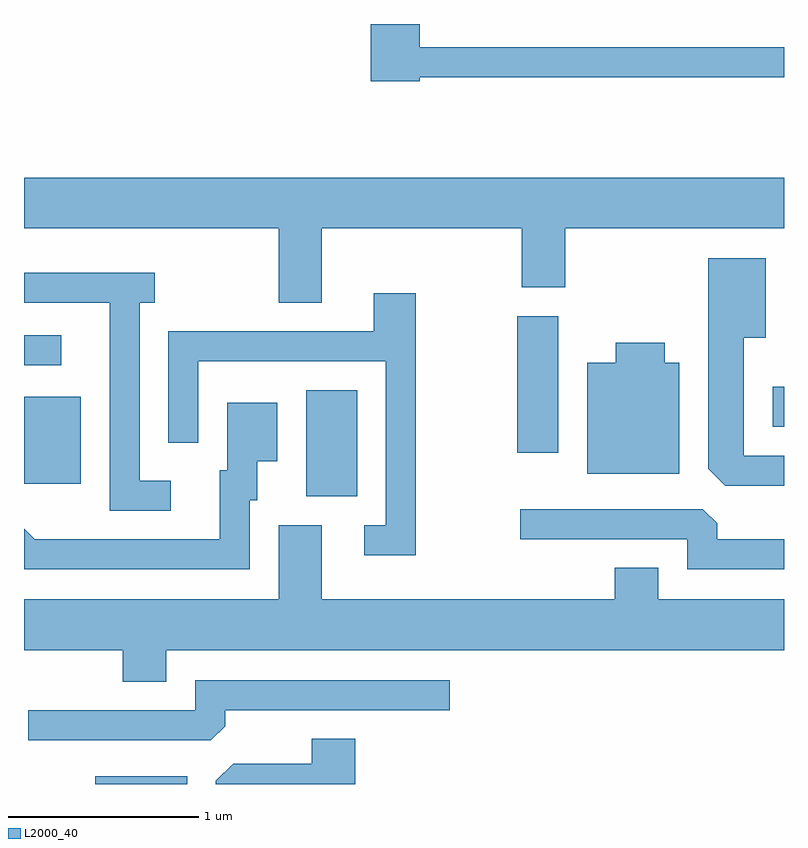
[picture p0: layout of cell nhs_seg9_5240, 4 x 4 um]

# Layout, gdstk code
import gdstk
lib = gdstk.Library(unit=1e-6, precision=1e-09)
def R(c, l, rs):  # rectangles x0, y0, x1, y1
    for r in rs: c.add(gdstk.rectangle(r[:2], r[2:], *l))
def P(c, l, *ps):  # polygons
    for p in ps: c.add(gdstk.Polygon(p, *l))
L2000_40 = (2000, 40)

nhs_seg9_5240 = lib.new_cell('nhs_seg9_5240')
R(nhs_seg9_5240, L2000_40, [(339.986,2004.432,340.469,2004.474), (341.096,2005.946,341.364,2006.504), (339.611,2006.011,339.909,2006.469), (342.206,2006.176,342.424,2006.894), (343.551,2006.311,343.611,2006.524), (339.611,2006.636,339.808,2006.794)])
P(nhs_seg9_5240, L2000_40, [(341.694,2008.151),(343.611,2008.151),(343.611,2008.309),(341.694,2008.309),(341.694,2008.432),(341.436,2008.432),(341.436,2008.131),(341.694,2008.131)],
  [(341.179,2007.356),(342.231,2007.356),(342.231,2007.046),(342.459,2007.046),(342.459,2007.356),(343.611,2007.356),(343.611,2007.624),(339.611,2007.624),(339.611,2007.356),(340.951,2007.356),(340.951,2006.966),(341.179,2006.966)],
  [(343.611,2006.159),(343.399,2006.159),(343.399,2006.781),(343.514,2006.781),(343.514,2007.199),(343.211,2007.199),(343.211,2006.092),(343.302,2006.001),(343.611,2006.001)],
  [(340.383,2006.029),(340.219,2006.029),(340.219,2006.966),(340.298,2006.966),(340.298,2007.124),(339.611,2007.124),(339.611,2006.966),(340.061,2006.966),(340.061,2005.871),(340.383,2005.871)],
  [(341.674,2007.014),(341.451,2007.014),(341.451,2006.814),(340.371,2006.814),(340.371,2006.228),(340.529,2006.228),(340.529,2006.656),(341.516,2006.656),(341.516,2005.794),(341.403,2005.794),(341.403,2005.636),(341.674,2005.636)],
  [(343.059,2006.649),(342.984,2006.649),(342.984,2006.754),(342.726,2006.754),(342.726,2006.649),(342.576,2006.649),(342.576,2006.066),(343.059,2006.066)],
  [(340.799,2005.926),(340.839,2005.926),(340.839,2006.131),(340.944,2006.131),(340.944,2006.439),(340.681,2006.439),(340.681,2006.084),(340.641,2006.084),(340.641,2005.719),(339.667,2005.719),(339.611,2005.775),(339.611,2005.561),(340.799,2005.561)],
  [(343.611,2005.719),(343.259,2005.719),(343.259,2005.804),(343.184,2005.879),(342.223,2005.879),(342.223,2005.721),(343.101,2005.721),(343.101,2005.561),(343.611,2005.561)],
  [(340.359,2005.136),(343.611,2005.136),(343.611,2005.404),(342.949,2005.404),(342.949,2005.569),(342.721,2005.569),(342.721,2005.404),(341.179,2005.404),(341.179,2005.794),(340.951,2005.794),(340.951,2005.404),(339.611,2005.404),(339.611,2005.136),(340.131,2005.136),(340.131,2004.971),(340.359,2004.971)],
  [(340.669,2004.737),(340.669,2004.821),(341.853,2004.821),(341.853,2004.979),(340.511,2004.979),(340.511,2004.819),(339.633,2004.819),(339.633,2004.661),(340.594,2004.661)],
  [(341.354,2004.669),(341.126,2004.669),(341.126,2004.539),(340.712,2004.539),(340.621,2004.449),(340.621,2004.432),(341.354,2004.432)])

lib.write_gds('nhs_seg9_5240.gds')
